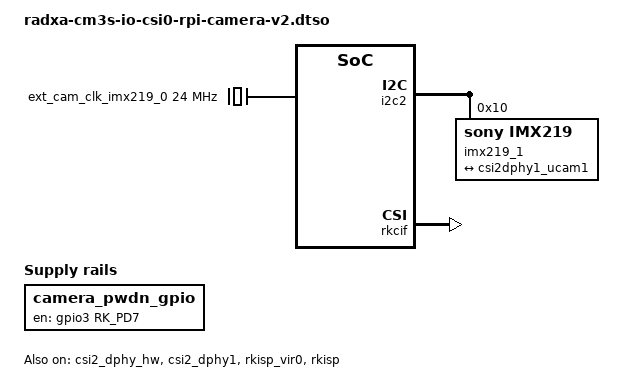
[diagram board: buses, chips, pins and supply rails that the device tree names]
/dts-v1/;
/plugin/;

#include <dt-bindings/gpio/gpio.h>
#include <dt-bindings/pinctrl/rockchip.h>

/ {
	metadata {
		title = "Enable Raspberry Pi Camera v2 on CSI0";
		compatible = "radxa,cm3s-io", "radxa,radxa-cm3-sodimm-io";
		category = "camera";
		exclusive = "csi2_dphy1";
		description = "Enable Raspberry Pi Camera v2 on CSI0.";
	};
};

&{/} {
	ext_cam_clk_imx219_0: ext-cam-clk-imx219-0 {
		status = "okay";
		compatible = "fixed-clock";
		clock-frequency = <24000000>;
		clock-output-names = "ext_cam_clk_imx219_0";
		#clock-cells = <0>;
	};

	camera_pwdn_gpio: camera-pwdn-gpio {
		status = "okay";
		compatible = "regulator-fixed";
		regulator-name = "camera_pwdn_gpio";
		regulator-always-on;
		regulator-boot-on;
		enable-active-high;
		gpio = <&gpio3 RK_PD7 GPIO_ACTIVE_HIGH>;
	};
};

&i2c2 {
	status = "okay";
	pinctrl-names = "default";
	pinctrl-0 = <&i2c2m1_xfer>;
	#address-cells = <1>;
				#size-cells = <0>;

	imx219_1: imx219@10 {
		status = "okay";
		compatible = "sony,imx219";
		reg = <0x10>;
		clocks = <&ext_cam_clk_imx219_0>;
		clock-names = "ext_cam_clk_imx219_0";
		rockchip,camera-module-index = <1>;
		rockchip,camera-module-facing = "front";
		rockchip,camera-module-name = "rpi-camera-v2";
		rockchip,camera-module-lens-name = "default";

		port {
			imx219_1_out: endpoint {
				remote-endpoint = <&csi2dphy1_ucam1>;
				data-lanes = <1 2>;
			};
		};
	};
};

&csi2_dphy_hw {
	status = "okay";
};

&csi2_dphy1 {
	status = "okay";

	ports {
		#address-cells = <1>;
		#size-cells = <0>;

		port@0 {
			reg = <0>;
			#address-cells = <1>;
			#size-cells = <0>;

			csi2dphy1_ucam1: endpoint@1 {
				reg = <1>;
				remote-endpoint = <&imx219_1_out>;
				data-lanes = <1 2>;
			};
		};

		port@1 {
			reg = <1>;
			#address-cells = <1>;
			#size-cells = <0>;

			csi2dphy1_out: endpoint@1 {
				reg = <1>;
				remote-endpoint = <&isp0_in>;
			};
		};
	};
};

&rkisp_vir0 {
	status = "okay";

	port {
		#address-cells = <1>;
		#size-cells = <0>;

		isp0_in: endpoint@0 {
			reg = <0>;
			remote-endpoint = <&csi2dphy1_out>;
		};
	};
};

&rkisp {
	status = "okay";
};

&rkisp_mmu {
	status = "okay";
};

&rkcif_mmu {
	status = "okay";
};

&rkcif {
	status = "okay";
};
